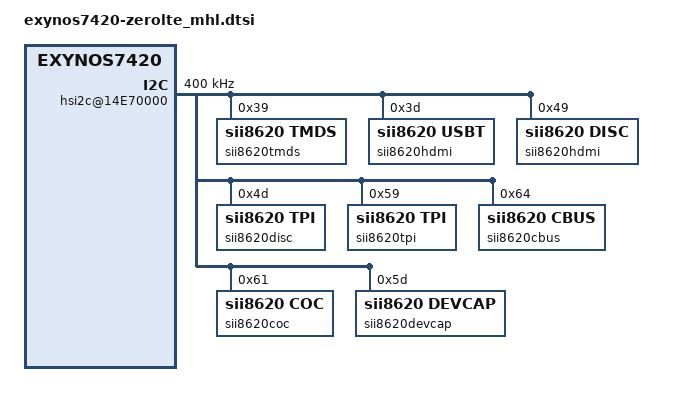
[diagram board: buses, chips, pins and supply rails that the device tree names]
/* Copyright (c) 2013, Samsung Electronics Corporation. All rights reserved.
 *
 * This program is free software; you can redistribute it and/or modify
 * it under the terms of the GNU General Public License version 2 and
 * only version 2 as published by the Free Software Foundation.
 *
 * This program is distributed in the hope that it will be useful,
 * but WITHOUT ANY WARRANTY; without even the implied warranty of
 * MERCHANTABILITY or FITNESS FOR A PARTICULAR PURPOSE.  See the
 * GNU General Public License for more details.
 */

/ {
	hsi2c@14E70000 {
		status = "okay";
		samsung,fs-mode;
		clock-frequency = <400000>;

		sii8620tmds@39 {
			compatible = "sii8620,tmds";
			reg = <0x39>; /* 0x72 >> 1 */
			sii8620,client_id = <0x00>;

			pinctrl-names = "default";
			pinctrl-0 = <&mhl_irq>;

			sii8620,gpio_mhl_irq = <&gpf5 5 0>;
			sii8620,gpio_mhl_reset = <&gpf1 3 0>;
			sii8620,gpio_mhl_scl = <&gpd1 3 0>;
			sii8620,gpio_mhl_sda = <&gpd1 2 0>;
			sii8620,swing_level_v2 = <0xBB>;
			sii8620,swing_level_v3 = <0xA2>;

			clocks = <&clock 4300>;
			clock-names = "mhl_clkout";
		};
		sii8620hdmi@3D {
			compatible = "sii8620,usbt";
			reg = <0x3D>; /* 0x7A >> 1 */
			sii8620,client_id = <0x01>;
		};
		sii8620hdmi@49 {
			compatible = "sii8620,disc";
			reg = <0x49>;  /* 0x92 >> 1 */
			sii8620,client_id = <0x02>;
		};
		sii8620disc@4D {
			compatible = "sii8620,tpi";
			reg = <0x4D>;   /* 0x9A >> 1 */
			sii8620,client_id = <0x03>;
		};
		sii8620tpi@59 {
			compatible = "sii8620,tpi";
			reg = <0x59>;  /* 0xB2 >> 1 */
			sii8620,client_id = <0x04>;
		};
		sii8620cbus@64 {
			compatible = "sii8620,cbus";
			reg = <0x64>;  /* 0xC8 >> 1 */
			sii8620,client_id = <0x05>;
		};
		sii8620coc@61 {
			compatible = "sii8620,coc";
			reg = <0x61>;  /* 0xC2 >> 1 */
			sii8620,client_id = <0x06>;
		};
		sii8620devcap@5D {
			compatible = "sii8620,devcap";
			reg = <0x5D>;  /* 0xBA >> 1 */
			sii8620,client_id = <0x07>;
		};
	};

	pinctrl@14870000 {
		mhl_irq: mhl-irq {
			 samsung,pins = "gpf5-5";
			 samsung,pins-function = <0>;
			 samsung,pin-pud = <1>;
			 samsung,pin-drv = <0>;
		};
	};

};
